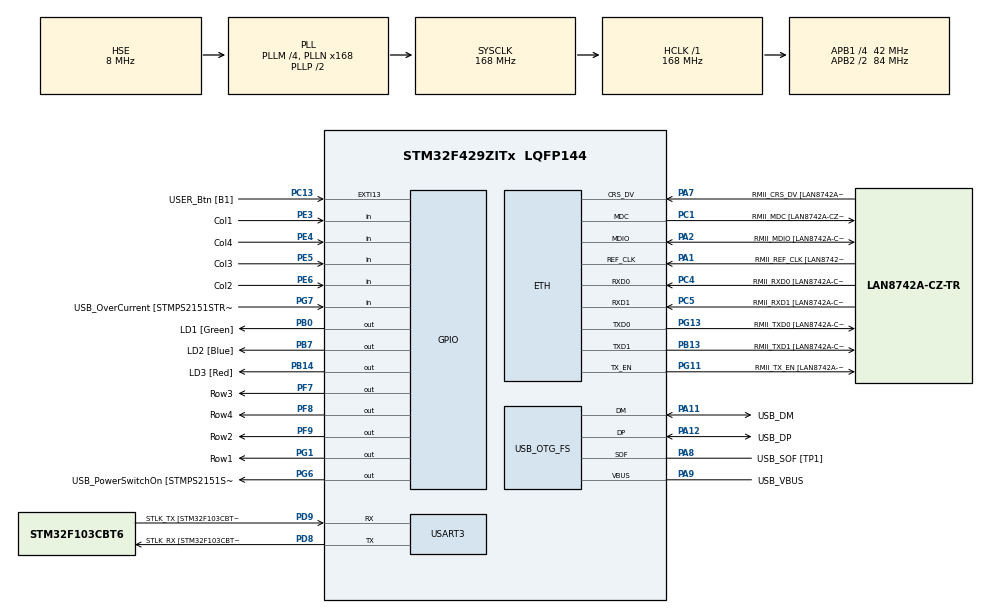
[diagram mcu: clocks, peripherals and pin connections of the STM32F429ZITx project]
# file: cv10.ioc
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ETH.MediaInterface=HAL_ETH_RMII_MODE
ETH.PHY_Name=LAN8742A_PHY_ADDRESS
ETH.PHY_Value=0
ETH.PhyAddress=0
Mcu.Family=STM32F4
Mcu.Name=STM32F429ZITx
Mcu.Package=LQFP144
NVIC.PriorityGroup=NVIC_PRIORITYGROUP_4
NVIC.TIM3_IRQn=true\:0\:0\:false\:false\:true\:true\:true\:true
PA1.GPIO_Label=RMII_REF_CLK [LAN8742A-CZ-TR_REFCLK0]
PA1.Mode=RMII
PA1.Signal=ETH_REF_CLK
PA10.GPIO_Label=USB_ID
PA10.Signal=USB_OTG_FS_ID
PA11.GPIO_Label=USB_DM
PA11.Mode=Device_Only
PA11.Signal=USB_OTG_FS_DM
PA12.GPIO_Label=USB_DP
PA12.Mode=Device_Only
PA12.Signal=USB_OTG_FS_DP
PA13.GPIO_Label=TMS
PA13.Mode=Serial_Wire
PA13.Signal=SYS_JTMS-SWDIO
PA14.GPIO_Label=TCK
PA14.Mode=Serial_Wire
PA14.Signal=SYS_JTCK-SWCLK
PA2.GPIO_Label=RMII_MDIO [LAN8742A-CZ-TR_MDIO]
PA2.Mode=RMII
PA2.Signal=ETH_MDIO
PA7.GPIO_Label=RMII_CRS_DV [LAN8742A-CZ-TR_CRS_DV]
PA7.Mode=RMII
PA7.Signal=ETH_CRS_DV
PA8.GPIO_Label=USB_SOF [TP1]
PA8.Mode=Activate_SOF_FS
PA8.Signal=USB_OTG_FS_SOF
PA9.GPIO_Label=USB_VBUS
PA9.Mode=Activate_VBUS
PA9.Signal=USB_OTG_FS_VBUS
PB0.GPIO_Label=LD1 [Green]
PB0.Signal=GPIO_Output
PB13.GPIO_Label=RMII_TXD1 [LAN8742A-CZ-TR_TXD1]
PB13.Mode=RMII
PB13.Signal=ETH_TXD1
PB14.GPIO_Label=LD3 [Red]
PB14.Signal=GPIO_Output
PB7.GPIO_Label=LD2 [Blue]
PB7.Signal=GPIO_Output
PC1.GPIO_Label=RMII_MDC [LAN8742A-CZ-TR_MDC]
PC1.Mode=RMII
PC1.Signal=ETH_MDC
PC13.GPIO_Label=USER_Btn [B1]
PC13.Signal=GPXTI13
PC14/OSC32_IN.Mode=LSE-External-Oscillator
PC14/OSC32_IN.Signal=RCC_OSC32_IN
PC15/OSC32_OUT.Mode=LSE-External-Oscillator
PC15/OSC32_OUT.Signal=RCC_OSC32_OUT
PC4.GPIO_Label=RMII_RXD0 [LAN8742A-CZ-TR_RXD0]
PC4.Mode=RMII
PC4.Signal=ETH_RXD0
PC5.GPIO_Label=RMII_RXD1 [LAN8742A-CZ-TR_RXD1]
PC5.Mode=RMII
PC5.Signal=ETH_RXD1
PD8.GPIO_Label=STLK_RX [STM32F103CBT6_PA3]
PD8.Mode=Asynchronous
PD8.Signal=USART3_TX
PD9.GPIO_Label=STLK_TX [STM32F103CBT6_PA2]
PD9.Mode=Asynchronous
PD9.Signal=USART3_RX
PE3.GPIO_Label=Col1
PE3.GPIO_PuPd=GPIO_PULLUP
PE3.Signal=GPIO_Input
PE4.GPIO_Label=Col4
PE4.GPIO_PuPd=GPIO_PULLUP
PE4.Signal=GPIO_Input
PE5.GPIO_Label=Col3
PE5.GPIO_PuPd=GPIO_PULLUP
PE5.Signal=GPIO_Input
PE6.GPIO_Label=Col2
PE6.GPIO_PuPd=GPIO_PULLUP
PE6.Signal=GPIO_Input
PF7.GPIO_Label=Row3
PF7.GPIO_ModeDefaultOutputPP=GPIO_MODE_OUTPUT_OD
PF7.GPIO_PuPd=GPIO_NOPULL
PF7.Signal=GPIO_Output
PF8.GPIO_Label=Row4
PF8.GPIO_ModeDefaultOutputPP=GPIO_MODE_OUTPUT_OD
PF8.GPIO_PuPd=GPIO_NOPULL
PF8.Signal=GPIO_Output
PF9.GPIO_Label=Row2
PF9.GPIO_ModeDefaultOutputPP=GPIO_MODE_OUTPUT_OD
PF9.GPIO_PuPd=GPIO_NOPULL
PF9.Signal=GPIO_Output
PG1.GPIO_Label=Row1
PG1.GPIO_ModeDefaultOutputPP=GPIO_MODE_OUTPUT_OD
PG1.GPIO_PuPd=GPIO_NOPULL
PG1.Signal=GPIO_Output
PG11.GPIO_Label=RMII_TX_EN [LAN8742A-CZ-TR_TXEN]
PG11.Mode=RMII
PG11.Signal=ETH_TX_EN
PG13.GPIO_Label=RMII_TXD0 [LAN8742A-CZ-TR_TXD0]
PG13.Mode=RMII
PG13.Signal=ETH_TXD0
PG6.GPIO_Label=USB_PowerSwitchOn [STMPS2151STR_EN]
PG6.Signal=GPIO_Output
PG7.GPIO_Label=USB_OverCurrent [STMPS2151STR_FAULT]
PG7.Signal=GPIO_Input
PH0/OSC_IN.GPIO_Label=MCO [STM32F103CBT6_PA8]
PH0/OSC_IN.Mode=HSE-External-Clock-Source
PH0/OSC_IN.Signal=RCC_OSC_IN
PH1/OSC_OUT.Mode=HSE-External-Clock-Source
PH1/OSC_OUT.Signal=RCC_OSC_OUT
ProjectManager.HeapSize=0x200
ProjectManager.StackSize=0x400
ProjectManager.TargetToolchain=STM32CubeIDE
RCC.48MHZClocksFreq_Value=48000000
RCC.AHBFreq_Value=168000000
RCC.APB1CLKDivider=RCC_HCLK_DIV4
RCC.APB1Freq_Value=42000000
RCC.APB1TimFreq_Value=84000000
RCC.APB2CLKDivider=RCC_HCLK_DIV2
RCC.APB2Freq_Value=84000000
RCC.APB2TimCLKDivider=2
RCC.APB2TimFreq_Value=168000000
RCC.CortexFreq_Value=168000000
RCC.HCLKFreq_Value=168000000
RCC.HSE_VALUE=8000000
RCC.HSI_VALUE=16000000
RCC.PLLM=4
RCC.PLLMUL=RCC_PLL_MUL9
RCC.PLLN=168
RCC.PLLQ=7
RCC.PRESCALERUSB=RCC_USBCLKSOURCE_PLL_DIV1_5
RCC.SYSCLKFreq_VALUE=168000000
RCC.SYSCLKSource=RCC_SYSCLKSOURCE_PLLCLK
RCC.SYSCLKSourceVirtual=RCC_SYSCLKSOURCE_PLLCLK
RCC.USBFreq_Value=48000000
RCC.VCOOutputFreq_Value=336000000
TIM3.AutoReloadPreload=TIM_AUTORELOAD_PRELOAD_ENABLE
TIM3.Period=99
TIM3.Prescaler=8399
USART3.VirtualMode=VM_ASYNC
USB_OTG_FS.VirtualMode=Device_Only
VP_TIM3_VS_ClockSourceINT.Mode=Internal
board=NUCLEO-F429ZI

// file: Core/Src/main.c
/* USER CODE BEGIN Header */
/**
  ******************************************************************************
  * @file           : main.c
  * @brief          : Main program body
  ******************************************************************************
  * @attention
  *
  * Copyright (c) 2023 STMicroelectronics.
  * All rights reserved.
  *
  * This software is licensed under terms that can be found in the LICENSE file
  * in the root directory of this software component.
  * If no LICENSE file comes with this software, it is provided AS-IS.
  *
  ******************************************************************************
  */
/* USER CODE END Header */
#include "main.h"
#include "string.h"

/* USER CODE BEGIN Includes */
#include <stdio.h>
/* USER CODE END Includes */

ETH_TxPacketConfig TxConfig;
ETH_DMADescTypeDef  DMARxDscrTab[ETH_RX_DESC_CNT]; /* Ethernet Rx DMA Descriptors */
ETH_DMADescTypeDef  DMATxDscrTab[ETH_TX_DESC_CNT]; /* Ethernet Tx DMA Descriptors */

TIM_HandleTypeDef htim3;

UART_HandleTypeDef huart3;

/* USER CODE BEGIN PV */
static volatile int16_t key = -1;
const uint16_t password[]={7,9,3,2,12};
/* USER CODE END PV */

void SystemClock_Config(void);
static void MX_GPIO_Init(void);
static void MX_USART3_UART_Init(void);
static void MX_TIM3_Init(void);
/* USER CODE BEGIN PFP */
int __io_putchar(int ch)
{
	ITM_SendChar(ch);
	return 0;
}
/* USER CODE END PFP */

int main(void)
{

  /* MCU Configuration--------------------------------------------------------*/

  /* Reset of all peripherals, Initializes the Flash interface and the Systick. */
  HAL_Init();

  /* Configure the system clock */
  SystemClock_Config();

  /* Initialize all configured peripherals */
  MX_GPIO_Init();
  MX_USART3_UART_Init();
  MX_TIM3_Init();
  /* USER CODE BEGIN 2 */
  printf(" Zadejte heslo:\n");
  HAL_TIM_Base_Start_IT(&htim3);

  uint8_t pos = 0;
  uint32_t wait = HAL_GetTick();
  /* USER CODE END 2 */

  /* Infinite loop */
  /* USER CODE BEGIN WHILE */
  while (1)
  {

	  if(HAL_GetTick()>=2000+wait && pos!=0)
	  {
		  pos=0;
		  printf(" Timeout:\n");
		  wait=HAL_GetTick();
	  }
	  else if(key!=-1)
	  {
		  HAL_GPIO_WritePin(LD1_GPIO_Port, LD1_Pin,0);

		  if(key<10)
		  {
			  printf("stisknuto: %d\n",key);
		  }
		  else if(key>20&&key<25)
		  {
			  printf("stisknuto: %c\n",key+44);
		  }
		  else if(key==11)
		  {
			  printf("stisknuto: *\n");
		  }
		  else if(key==12)
		  {
			  printf("stisknuto: #\n");
		  }
		  if(key==password[pos])
		  {
			  printf("pozice %d prijata\n",pos);
			  pos++;
		  }
		  else
		  {
			  printf("pozice %d spatne\n",pos);
			  pos=0;
		  }
		  if(pos==5)
		  {
			  printf("Heslo prijato\n");
			  HAL_GPIO_WritePin(LD1_GPIO_Port, LD1_Pin,1);
			  pos=0;
		  }
		  HAL_Delay(300);
		  wait = HAL_GetTick();
		  key=-1;

	  }

    /* USER CODE END WHILE */

  }
}

void SystemClock_Config(void)
{
  RCC_OscInitTypeDef RCC_OscInitStruct = {0};
  RCC_ClkInitTypeDef RCC_ClkInitStruct = {0};

  /** Configure the main internal regulator output voltage
  */
  __HAL_RCC_PWR_CLK_ENABLE();
  __HAL_PWR_VOLTAGESCALING_CONFIG(PWR_REGULATOR_VOLTAGE_SCALE1);

  /** Initializes the RCC Oscillators according to the specified parameters
  * in the RCC_OscInitTypeDef structure.
  */
  RCC_OscInitStruct.OscillatorType = RCC_OSCILLATORTYPE_HSE;
  RCC_OscInitStruct.HSEState = RCC_HSE_BYPASS;
  RCC_OscInitStruct.PLL.PLLState = RCC_PLL_ON;
  RCC_OscInitStruct.PLL.PLLSource = RCC_PLLSOURCE_HSE;
  RCC_OscInitStruct.PLL.PLLM = 4;
  RCC_OscInitStruct.PLL.PLLN = 168;
  RCC_OscInitStruct.PLL.PLLP = RCC_PLLP_DIV2;
  RCC_OscInitStruct.PLL.PLLQ = 7;
  if (HAL_RCC_OscConfig(&RCC_OscInitStruct) != HAL_OK)
  {
    Error_Handler();
  }

  /** Initializes the CPU, AHB and APB buses clocks
  */
  RCC_ClkInitStruct.ClockType = RCC_CLOCKTYPE_HCLK|RCC_CLOCKTYPE_SYSCLK
                              |RCC_CLOCKTYPE_PCLK1|RCC_CLOCKTYPE_PCLK2;
  RCC_ClkInitStruct.SYSCLKSource = RCC_SYSCLKSOURCE_PLLCLK;
  RCC_ClkInitStruct.AHBCLKDivider = RCC_SYSCLK_DIV1;
  RCC_ClkInitStruct.APB1CLKDivider = RCC_HCLK_DIV4;
  RCC_ClkInitStruct.APB2CLKDivider = RCC_HCLK_DIV2;

  if (HAL_RCC_ClockConfig(&RCC_ClkInitStruct, FLASH_LATENCY_5) != HAL_OK)
  {
    Error_Handler();
  }
}

static void MX_TIM3_Init(void)
{

  TIM_ClockConfigTypeDef sClockSourceConfig = {0};
  TIM_MasterConfigTypeDef sMasterConfig = {0};

  htim3.Instance = TIM3;
  htim3.Init.Prescaler = 8399;
  htim3.Init.CounterMode = TIM_COUNTERMODE_UP;
  htim3.Init.Period = 99;
  htim3.Init.ClockDivision = TIM_CLOCKDIVISION_DIV1;
  htim3.Init.AutoReloadPreload = TIM_AUTORELOAD_PRELOAD_ENABLE;
  if (HAL_TIM_Base_Init(&htim3) != HAL_OK)
  {
    Error_Handler();
  }
  sClockSourceConfig.ClockSource = TIM_CLOCKSOURCE_INTERNAL;
  if (HAL_TIM_ConfigClockSource(&htim3, &sClockSourceConfig) != HAL_OK)
  {
    Error_Handler();
  }
  sMasterConfig.MasterOutputTrigger = TIM_TRGO_RESET;
  sMasterConfig.MasterSlaveMode = TIM_MASTERSLAVEMODE_DISABLE;
  if (HAL_TIMEx_MasterConfigSynchronization(&htim3, &sMasterConfig) != HAL_OK)
  {
    Error_Handler();
  }

}

static void MX_USART3_UART_Init(void)
{

  huart3.Instance = USART3;
  huart3.Init.BaudRate = 115200;
  huart3.Init.WordLength = UART_WORDLENGTH_8B;
  huart3.Init.StopBits = UART_STOPBITS_1;
  huart3.Init.Parity = UART_PARITY_NONE;
  huart3.Init.Mode = UART_MODE_TX_RX;
  huart3.Init.HwFlowCtl = UART_HWCONTROL_NONE;
  huart3.Init.OverSampling = UART_OVERSAMPLING_16;
  if (HAL_UART_Init(&huart3) != HAL_OK)
  {
    Error_Handler();
  }

}

static void MX_GPIO_Init(void)
{
  GPIO_InitTypeDef GPIO_InitStruct = {0};

  /* GPIO Ports Clock Enable */
  __HAL_RCC_GPIOE_CLK_ENABLE();
  __HAL_RCC_GPIOC_CLK_ENABLE();
  __HAL_RCC_GPIOF_CLK_ENABLE();
  __HAL_RCC_GPIOH_CLK_ENABLE();
  __HAL_RCC_GPIOA_CLK_ENABLE();
  __HAL_RCC_GPIOB_CLK_ENABLE();
  __HAL_RCC_GPIOG_CLK_ENABLE();
  __HAL_RCC_GPIOD_CLK_ENABLE();

  /*Configure GPIO pin Output Level */
  HAL_GPIO_WritePin(GPIOF, Row3_Pin|Row4_Pin|Row2_Pin, GPIO_PIN_RESET);

  /*Configure GPIO pin Output Level */
  HAL_GPIO_WritePin(GPIOB, LD1_Pin|LD3_Pin|LD2_Pin, GPIO_PIN_RESET);

  /*Configure GPIO pin Output Level */
  HAL_GPIO_WritePin(GPIOG, Row1_Pin|USB_PowerSwitchOn_Pin, GPIO_PIN_RESET);

  /*Configure GPIO pins : Col1_Pin Col4_Pin Col3_Pin Col2_Pin */
  GPIO_InitStruct.Pin = Col1_Pin|Col4_Pin|Col3_Pin|Col2_Pin;
  GPIO_InitStruct.Mode = GPIO_MODE_INPUT;
  GPIO_InitStruct.Pull = GPIO_PULLUP;
  HAL_GPIO_Init(GPIOE, &GPIO_InitStruct);

  /*Configure GPIO pin : USER_Btn_Pin */
  GPIO_InitStruct.Pin = USER_Btn_Pin;
  GPIO_InitStruct.Mode = GPIO_MODE_IT_RISING;
  GPIO_InitStruct.Pull = GPIO_NOPULL;
  HAL_GPIO_Init(USER_Btn_GPIO_Port, &GPIO_InitStruct);

  /*Configure GPIO pins : Row3_Pin Row4_Pin Row2_Pin */
  GPIO_InitStruct.Pin = Row3_Pin|Row4_Pin|Row2_Pin;
  GPIO_InitStruct.Mode = GPIO_MODE_OUTPUT_OD;
  GPIO_InitStruct.Pull = GPIO_NOPULL;
  GPIO_InitStruct.Speed = GPIO_SPEED_FREQ_LOW;
  HAL_GPIO_Init(GPIOF, &GPIO_InitStruct);

  /*Configure GPIO pins : LD1_Pin LD3_Pin LD2_Pin */
  GPIO_InitStruct.Pin = LD1_Pin|LD3_Pin|LD2_Pin;
  GPIO_InitStruct.Mode = GPIO_MODE_OUTPUT_PP;
  GPIO_InitStruct.Pull = GPIO_NOPULL;
  GPIO_InitStruct.Speed = GPIO_SPEED_FREQ_LOW;
  HAL_GPIO_Init(GPIOB, &GPIO_InitStruct);

  /*Configure GPIO pin : Row1_Pin */
  GPIO_InitStruct.Pin = Row1_Pin;
  GPIO_InitStruct.Mode = GPIO_MODE_OUTPUT_OD;
  GPIO_InitStruct.Pull = GPIO_NOPULL;
  GPIO_InitStruct.Speed = GPIO_SPEED_FREQ_LOW;
  HAL_GPIO_Init(Row1_GPIO_Port, &GPIO_InitStruct);

  /*Configure GPIO pin : USB_PowerSwitchOn_Pin */
  GPIO_InitStruct.Pin = USB_PowerSwitchOn_Pin;
  GPIO_InitStruct.Mode = GPIO_MODE_OUTPUT_PP;
  GPIO_InitStruct.Pull = GPIO_NOPULL;
  GPIO_InitStruct.Speed = GPIO_SPEED_FREQ_LOW;
  HAL_GPIO_Init(USB_PowerSwitchOn_GPIO_Port, &GPIO_InitStruct);

  /*Configure GPIO pin : USB_OverCurrent_Pin */
  GPIO_InitStruct.Pin = USB_OverCurrent_Pin;
  GPIO_InitStruct.Mode = GPIO_MODE_INPUT;
  GPIO_InitStruct.Pull = GPIO_NOPULL;
  HAL_GPIO_Init(USB_OverCurrent_GPIO_Port, &GPIO_InitStruct);

}

/* USER CODE BEGIN 4 */
void HAL_TIM_PeriodElapsedCallback(TIM_HandleTypeDef *htim)
{
 static int row = 0;
 static const int keyboard[4][4] = {
 { 1, 2, 3, 21 },
 { 4, 5, 6, 22 },
 { 7, 8, 9, 23 },
 { 11, 0, 12, 24 },
 };
 if (key == -1) {
 if (HAL_GPIO_ReadPin(Col1_GPIO_Port, Col1_Pin) == GPIO_PIN_RESET) key = keyboard[row][0];
 if (HAL_GPIO_ReadPin(Col2_GPIO_Port, Col2_Pin) == GPIO_PIN_RESET) key = keyboard[row][1];
 if (HAL_GPIO_ReadPin(Col3_GPIO_Port, Col3_Pin) == GPIO_PIN_RESET) key = keyboard[row][2];
 if (HAL_GPIO_ReadPin(Col4_GPIO_Port, Col4_Pin) == GPIO_PIN_RESET) key = keyboard[row][3];
 }
 HAL_GPIO_WritePin(Row1_GPIO_Port, Row1_Pin, GPIO_PIN_SET);
 HAL_GPIO_WritePin(Row2_GPIO_Port, Row2_Pin, GPIO_PIN_SET);
 HAL_GPIO_WritePin(Row3_GPIO_Port, Row3_Pin, GPIO_PIN_SET);
 HAL_GPIO_WritePin(Row4_GPIO_Port, Row4_Pin, GPIO_PIN_SET);
 switch (row) {
 case 0: row = 1; HAL_GPIO_WritePin(Row2_GPIO_Port, Row2_Pin, GPIO_PIN_RESET); break;
 case 1: row = 2; HAL_GPIO_WritePin(Row3_GPIO_Port, Row3_Pin, GPIO_PIN_RESET); break;
 case 2: row = 3; HAL_GPIO_WritePin(Row4_GPIO_Port, Row4_Pin, GPIO_PIN_RESET); break;
 case 3: row = 0; HAL_GPIO_WritePin(Row1_GPIO_Port, Row1_Pin, GPIO_PIN_RESET); break;
 }
}

/* USER CODE END 4 */

void Error_Handler(void)
{
  __disable_irq();
  while (1)
  {
  }
}
